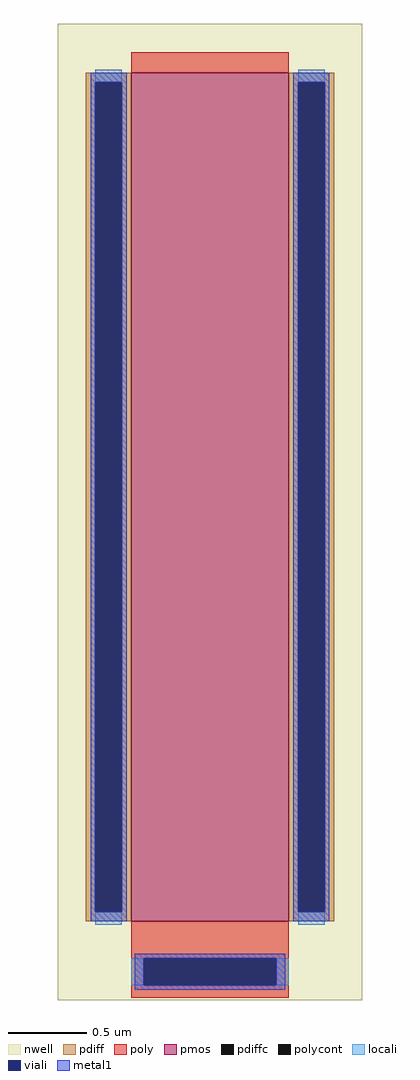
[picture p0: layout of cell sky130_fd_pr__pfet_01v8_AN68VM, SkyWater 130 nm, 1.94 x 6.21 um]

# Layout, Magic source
magic
tech sky130A
magscale 1 2
<< nwell >>
rect -194 -604 194 638
<< pmos >>
rect -100 -504 100 576
<< pdiff >>
rect -158 564 -100 576
rect -158 -492 -146 564
rect -112 -492 -100 564
rect -158 -504 -100 -492
rect 100 564 158 576
rect 100 -492 112 564
rect 146 -492 158 564
rect 100 -504 158 -492
<< pdiffc >>
rect -146 -492 -112 564
rect 112 -492 146 564
<< poly >>
rect -100 576 100 602
rect -100 -551 100 -504
rect -100 -585 -84 -551
rect 84 -585 100 -551
rect -100 -601 100 -585
<< polycont >>
rect -84 -585 84 -551
<< locali >>
rect -146 564 -112 580
rect -146 -508 -112 -492
rect 112 564 146 580
rect 112 -508 146 -492
rect -100 -585 -84 -551
rect 84 -585 100 -551
<< viali >>
rect -146 -492 -112 564
rect 112 -492 146 564
rect -84 -585 84 -551
<< metal1 >>
rect -152 564 -106 576
rect -152 -492 -146 564
rect -112 -492 -106 564
rect -152 -504 -106 -492
rect 106 564 152 576
rect 106 -492 112 564
rect 146 -492 152 564
rect 106 -504 152 -492
rect -96 -551 96 -545
rect -96 -585 -84 -551
rect 84 -585 96 -551
rect -96 -591 96 -585
<< properties >>
string gencell sky130_fd_pr__pfet_01v8
string library sky130
string parameters w 5.4 l 1.0 m 1 nf 1 diffcov 100 polycov 100 guard 0 glc 1 grc 1 gtc 1 gbc 1 tbcov 100 rlcov 100 topc 0 botc 1 poverlap 0 doverlap 1 lmin 0.15 wmin 0.42 compatible {sky130_fd_pr__pfet_01v8  sky130_fd_pr__pfet_01v8_lvt sky130_fd_pr__pfet_01v8_hvt  sky130_fd_pr__pfet_g5v0d10v5} full_metal 1 viasrc 100 viadrn 100 viagate 100 viagb 0 viagr 0 viagl 0 viagt 0
<< end >>
